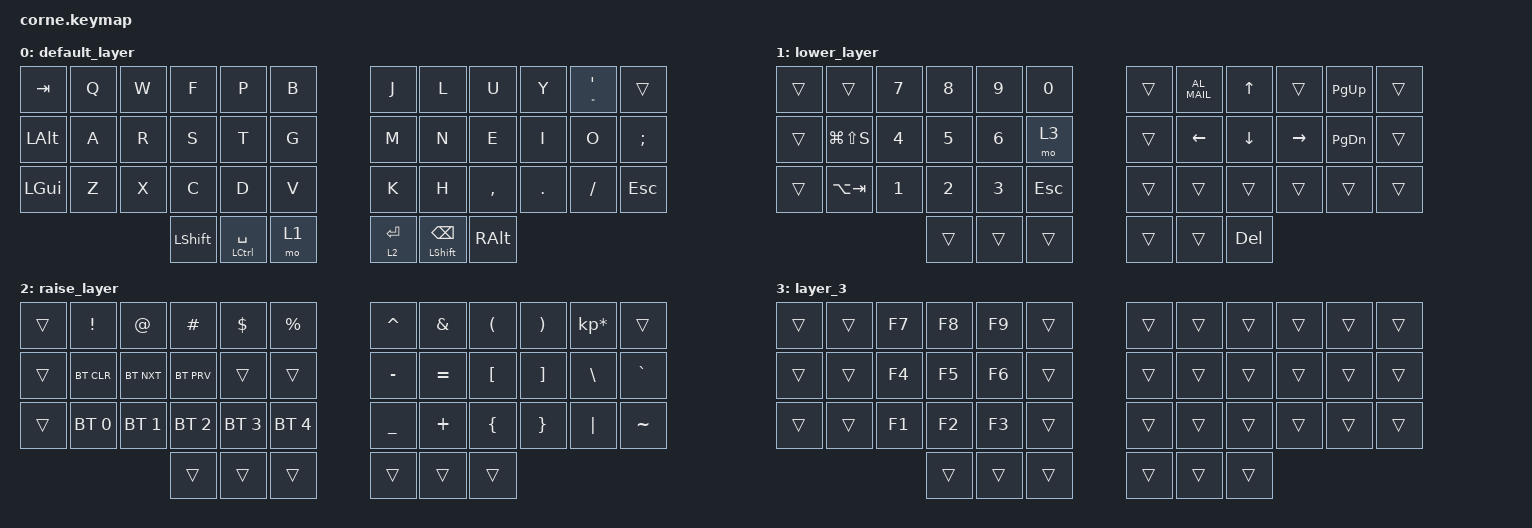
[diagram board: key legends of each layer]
/*
 * Copyright (c) 2020 The ZMK Contributors
 *
 * SPDX-License-Identifier: MIT
 */

#include <behaviors.dtsi>
#include <dt-bindings/zmk/bt.h>
#include <dt-bindings/zmk/keys.h>

/ {
    keymap {
        compatible = "zmk,keymap";

        default_layer {
            // -----------------------------------------------------------------------------------------
            // |  TAB |  Q  |  W  |  E  |  R  |  T  |   |  Y  |  U   |  I  |  O  |  P  | BKSP |
            // | CTRL |  A  |  S  |  D  |  F  |  G  |   |  H  |  J   |  K  |  L  |  ;  |  '   |
            // | SHFT |  Z  |  X  |  C  |  V  |  B  |   |  N  |  M   |  ,  |  .  |  /  | ESC  |
            //                    | GUI | LWR | SPC |   | ENT | RSE  | ALT |

            bindings = <
&kp TAB       &kp Q  &kp W  &kp F           &kp P                   &kp B    &kp J        &kp L                     &kp U      &kp Y    &mt DOUBLE_QUOTES APOS  &trans
&kp LEFT_ALT  &kp A  &kp R  &kp S           &kp T                   &kp G    &kp M        &kp N                     &kp E      &kp I    &kp O                   &kp SEMICOLON
&kp LEFT_GUI  &kp Z  &kp X  &kp C           &kp D                   &kp V    &kp K        &kp H                     &kp COMMA  &kp DOT  &kp FSLH                &kp ESC
                            &kp LEFT_SHIFT  &mt LEFT_CONTROL SPACE  &mo 1    &lt 2 ENTER  &mt LEFT_SHIFT BACKSPACE  &kp RALT
            >;
        };

        lower_layer {
            // -----------------------------------------------------------------------------------------
            // |  TAB |  1  |  2  |  3  |  4  |  5  |   |  6  |  7  |  8  |  9  |  0  | BKSP |
            // | BTCLR| BT1 | BT2 | BT3 | BT4 | BT5 |   | LFT | DWN |  UP | RGT |     |      |
            // | SHFT |     |     |     |     |     |   |     |     |     |     |     |      |
            //                    | GUI |     | SPC |   | ENT |     | ALT |

            bindings = <
&trans  &trans         &kp N7  &kp N8  &kp N9  &kp N0     &trans  &kp C_AL_MAIL   &kp UP          &trans     &kp PAGE_UP    &trans
&trans  &kp LG(LS(S))  &kp N4  &kp N5  &kp N6  &mo 3      &trans  &kp LEFT_ARROW  &kp DOWN_ARROW  &kp RIGHT  &kp PAGE_DOWN  &trans
&trans  &kp LA(TAB)    &kp N1  &kp N2  &kp N3  &kp ESC    &trans  &trans          &trans          &trans     &trans         &trans
                               &trans  &trans  &trans     &trans  &trans          &kp DEL
            >;
        };

        raise_layer {
            // -----------------------------------------------------------------------------------------
            // |  TAB |  !  |  @  |  #  |  $  |  %  |   |  ^  |  &  |  *  |  (  |  )  | BKSP |
            // | CTRL |     |     |     |     |     |   |  -  |  =  |  [  |  ]  |  \  |  `   |
            // | SHFT |     |     |     |     |     |   |  _  |  +  |  {  |  }  | "|" |  ~   |
            //                    | GUI |     | SPC |   | ENT |     | ALT |

            bindings = <
&trans  &kp EXCL      &kp AT        &kp HASH      &kp DLLR      &kp PRCNT       &kp CARET  &kp AMPS   &kp LEFT_PARENTHESIS  &kp RPAR  &kp KP_MULTIPLY  &trans
&trans  &bt BT_CLR    &bt BT_NXT    &bt BT_PRV    &trans        &trans          &kp MINUS  &kp EQUAL  &kp LBKT              &kp RBKT  &kp BSLH         &kp GRAVE
&trans  &bt BT_SEL 0  &bt BT_SEL 1  &bt BT_SEL 2  &bt BT_SEL 3  &bt BT_SEL 4    &kp UNDER  &kp PLUS   &kp LBRC              &kp RBRC  &kp PIPE         &kp TILDE
                                    &trans        &trans        &trans          &trans     &trans     &trans
            >;
        };

        layer_3 {
            bindings = <
&trans  &trans  &kp F7  &kp F8  &kp F9  &trans    &trans  &trans  &trans  &trans  &trans  &trans
&trans  &trans  &kp F4  &kp F5  &kp F6  &trans    &trans  &trans  &trans  &trans  &trans  &trans
&trans  &trans  &kp F1  &kp F2  &kp F3  &trans    &trans  &trans  &trans  &trans  &trans  &trans
                        &trans  &trans  &trans    &trans  &trans  &trans
            >;
        };
    };
};
